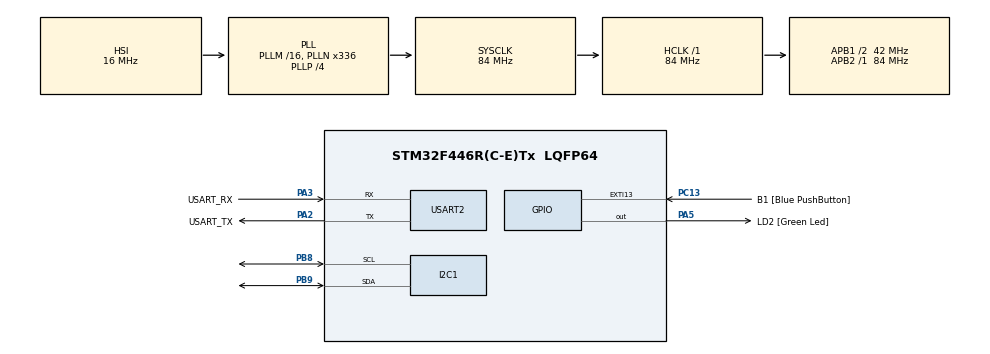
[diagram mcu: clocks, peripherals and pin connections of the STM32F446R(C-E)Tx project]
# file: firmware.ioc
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Mcu.Family=STM32F4
Mcu.Name=STM32F446R(C-E)Tx
Mcu.Package=LQFP64
NVIC.PriorityGroup=NVIC_PRIORITYGROUP_0
PA13.GPIO_Label=TMS
PA13.Signal=SYS_JTMS-SWDIO
PA14.GPIO_Label=TCK
PA14.Signal=SYS_JTCK-SWCLK
PA2.GPIO_Label=USART_TX
PA2.Mode=Asynchronous
PA2.Signal=USART2_TX
PA3.GPIO_Label=USART_RX
PA3.Mode=Asynchronous
PA3.Signal=USART2_RX
PA5.GPIO_Label=LD2 [Green Led]
PA5.Signal=GPIO_Output
PB3.GPIO_Label=SWO
PB3.Signal=SYS_JTDO-SWO
PB8.Mode=I2C
PB8.Signal=I2C1_SCL
PB9.Mode=I2C
PB9.Signal=I2C1_SDA
PC13.GPIO_Label=B1 [Blue PushButton]
PC13.GPIO_ModeDefaultEXTI=GPIO_MODE_IT_FALLING
PC13.Signal=GPXTI13
PC14-OSC32_IN.Signal=RCC_OSC32_IN
PC15-OSC32_OUT.Signal=RCC_OSC32_OUT
PH0-OSC_IN.Signal=RCC_OSC_IN
PH1-OSC_OUT.Signal=RCC_OSC_OUT
ProjectManager.HeapSize=0x200
ProjectManager.StackSize=0x400
ProjectManager.TargetToolchain=Makefile
RCC.AHBFreq_Value=84000000
RCC.APB1CLKDivider=RCC_HCLK_DIV2
RCC.APB1Freq_Value=42000000
RCC.APB1TimFreq_Value=84000000
RCC.APB2Freq_Value=84000000
RCC.APB2TimFreq_Value=84000000
RCC.CortexFreq_Value=84000000
RCC.FLatency-AdvancedSettings=FLASH_LATENCY_2
RCC.HCLKFreq_Value=84000000
RCC.HSE_VALUE=8000000
RCC.HSI_VALUE=16000000
RCC.LSE_VALUE=32768
RCC.PLLN=336
RCC.PLLP=RCC_PLLP_DIV4
RCC.SYSCLKFreq_VALUE=84000000
RCC.SYSCLKSource=RCC_SYSCLKSOURCE_PLLCLK
RCC.USBFreq_Value=168000000
RCC.VCOOutputFreq_Value=336000000
USART2.VirtualMode=VM_ASYNC
board=NUCLEO-F446RE

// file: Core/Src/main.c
/* USER CODE BEGIN Header */
/**
  ******************************************************************************
  * @file           : main.c
  * @brief          : Main program body
  ******************************************************************************
  * @attention
  *
  * Copyright (c) 2026 STMicroelectronics.
  * All rights reserved.
  *
  * This software is licensed under terms that can be found in the LICENSE file
  * in the root directory of this software component.
  * If no LICENSE file comes with this software, it is provided AS-IS.
  *
  ******************************************************************************
  */
/* USER CODE END Header */
#include "main.h"

/* USER CODE BEGIN Includes */
#include "BMP280_Wrapper.h"
#include <stdio.h>
/* USER CODE END Includes */

I2C_HandleTypeDef hi2c1;

UART_HandleTypeDef huart2;

/* USER CODE BEGIN PV */
BMP280_Handle bmp;
float temperature;
/* USER CODE END PV */

void SystemClock_Config(void);
static void MX_GPIO_Init(void);
static void MX_I2C1_Init(void);
static void MX_USART2_UART_Init(void);

int main(void)
{

  /* MCU Configuration--------------------------------------------------------*/

  /* Reset of all peripherals, Initializes the Flash interface and the Systick. */
  HAL_Init();

  /* Configure the system clock */
  SystemClock_Config();

  /* Initialize all configured peripherals */
  MX_GPIO_Init();
  MX_I2C1_Init();
  MX_USART2_UART_Init();
  /* USER CODE BEGIN 2 */

  // --- START I2C SCAN SECTION ---
  printf("\r\n--- I2C Bus Scanner ---\r\n");
  for (uint16_t i = 1; i < 128; i++) {
      // HAL_I2C_IsDeviceReady expects the 7-bit address left-shifted by 1 (i << 1).
      // If the device ACKs, it is present on the bus.
      if (HAL_I2C_IsDeviceReady(&hi2c1, (i << 1), 3, 5) == HAL_OK) {
          printf("Found I2C device at: 0x%02X\r\n", i);
      }
  }
  printf("Scan Finished.\r\n\r\n");
  // --- END I2C SCAN SECTION ---

  printf("Step 1: Creating Instance...\r\n");
  // Create a BMP280 driver instance bound to I2C1.
  bmp = BMP280_Create(&hi2c1);

  printf("Step 2: Calling Init...\r\n");
  // Give the sensor time to power up before initializing.
  HAL_Delay(100);

  // Initialize the BMP280 and report result.
  if (BMP280_Init(bmp)) {
      printf("Step 3: BMP280 Init Success!\r\n");
  } else {
      printf("Step 3: BMP280 Init FAILED!\r\n");
  }
  /* USER CODE END 2 */

  /* Infinite loop */
  while (1)
  {

    /* USER CODE BEGIN 3 */
    // Read temperature from BMP280.
    temperature = BMP280_ReadTemperature(bmp);

    // Format a message and transmit it over UART2.
    char msg[50];
    int len = sprintf(msg, "Temperature: %.2f C\r\n", temperature);
    HAL_UART_Transmit(&huart2, (uint8_t*)msg, len, 100);

    HAL_Delay(500);
  }
  /* USER CODE END 3 */
}

void SystemClock_Config(void)
{
  RCC_OscInitTypeDef RCC_OscInitStruct = {0};
  RCC_ClkInitTypeDef RCC_ClkInitStruct = {0};

  /** Configure the main internal regulator output voltage
  */
  __HAL_RCC_PWR_CLK_ENABLE();
  __HAL_PWR_VOLTAGESCALING_CONFIG(PWR_REGULATOR_VOLTAGE_SCALE3);

  /** Initializes the RCC Oscillators according to the specified parameters
  * in the RCC_OscInitTypeDef structure.
  */
  RCC_OscInitStruct.OscillatorType = RCC_OSCILLATORTYPE_HSI;
  RCC_OscInitStruct.HSIState = RCC_HSI_ON;
  RCC_OscInitStruct.HSICalibrationValue = RCC_HSICALIBRATION_DEFAULT;
  RCC_OscInitStruct.PLL.PLLState = RCC_PLL_ON;
  RCC_OscInitStruct.PLL.PLLSource = RCC_PLLSOURCE_HSI;
  RCC_OscInitStruct.PLL.PLLM = 16;
  RCC_OscInitStruct.PLL.PLLN = 336;
  RCC_OscInitStruct.PLL.PLLP = RCC_PLLP_DIV4;
  RCC_OscInitStruct.PLL.PLLQ = 2;
  RCC_OscInitStruct.PLL.PLLR = 2;
  if (HAL_RCC_OscConfig(&RCC_OscInitStruct) != HAL_OK)
  {
    Error_Handler();
  }

  /** Initializes the CPU, AHB and APB buses clocks
  */
  RCC_ClkInitStruct.ClockType = RCC_CLOCKTYPE_HCLK|RCC_CLOCKTYPE_SYSCLK
                              |RCC_CLOCKTYPE_PCLK1|RCC_CLOCKTYPE_PCLK2;
  RCC_ClkInitStruct.SYSCLKSource = RCC_SYSCLKSOURCE_PLLCLK;
  RCC_ClkInitStruct.AHBCLKDivider = RCC_SYSCLK_DIV1;
  RCC_ClkInitStruct.APB1CLKDivider = RCC_HCLK_DIV2;
  RCC_ClkInitStruct.APB2CLKDivider = RCC_HCLK_DIV1;

  if (HAL_RCC_ClockConfig(&RCC_ClkInitStruct, FLASH_LATENCY_2) != HAL_OK)
  {
    Error_Handler();
  }
}

static void MX_I2C1_Init(void)
{

  hi2c1.Instance = I2C1;
  hi2c1.Init.ClockSpeed = 100000;
  hi2c1.Init.DutyCycle = I2C_DUTYCYCLE_2;
  hi2c1.Init.OwnAddress1 = 0;
  hi2c1.Init.AddressingMode = I2C_ADDRESSINGMODE_7BIT;
  hi2c1.Init.DualAddressMode = I2C_DUALADDRESS_DISABLE;
  hi2c1.Init.OwnAddress2 = 0;
  hi2c1.Init.GeneralCallMode = I2C_GENERALCALL_DISABLE;
  hi2c1.Init.NoStretchMode = I2C_NOSTRETCH_DISABLE;
  if (HAL_I2C_Init(&hi2c1) != HAL_OK)
  {
    Error_Handler();
  }

}

static void MX_USART2_UART_Init(void)
{

  huart2.Instance = USART2;
  huart2.Init.BaudRate = 115200;
  huart2.Init.WordLength = UART_WORDLENGTH_8B;
  huart2.Init.StopBits = UART_STOPBITS_1;
  huart2.Init.Parity = UART_PARITY_NONE;
  huart2.Init.Mode = UART_MODE_TX_RX;
  huart2.Init.HwFlowCtl = UART_HWCONTROL_NONE;
  huart2.Init.OverSampling = UART_OVERSAMPLING_16;
  if (HAL_UART_Init(&huart2) != HAL_OK)
  {
    Error_Handler();
  }

}

static void MX_GPIO_Init(void)
{
  GPIO_InitTypeDef GPIO_InitStruct = {0};

  /* GPIO Ports Clock Enable */
  __HAL_RCC_GPIOC_CLK_ENABLE();
  __HAL_RCC_GPIOH_CLK_ENABLE();
  __HAL_RCC_GPIOA_CLK_ENABLE();
  __HAL_RCC_GPIOB_CLK_ENABLE();

  /*Configure GPIO pin Output Level */
  HAL_GPIO_WritePin(LD2_GPIO_Port, LD2_Pin, GPIO_PIN_RESET);

  /*Configure GPIO pin : B1_Pin */
  GPIO_InitStruct.Pin = B1_Pin;
  GPIO_InitStruct.Mode = GPIO_MODE_IT_FALLING;
  GPIO_InitStruct.Pull = GPIO_NOPULL;
  HAL_GPIO_Init(B1_GPIO_Port, &GPIO_InitStruct);

  /*Configure GPIO pin : LD2_Pin */
  GPIO_InitStruct.Pin = LD2_Pin;
  GPIO_InitStruct.Mode = GPIO_MODE_OUTPUT_PP;
  GPIO_InitStruct.Pull = GPIO_NOPULL;
  GPIO_InitStruct.Speed = GPIO_SPEED_FREQ_LOW;
  HAL_GPIO_Init(LD2_GPIO_Port, &GPIO_InitStruct);

}

/* USER CODE BEGIN 4 */
int __io_putchar(int ch)
{
  HAL_UART_Transmit(&huart2, (uint8_t *)&ch, 1, 10);
  return ch;
}
/* USER CODE END 4 */

void Error_Handler(void)
{
  __disable_irq();
  while (1)
  {
  }
}
